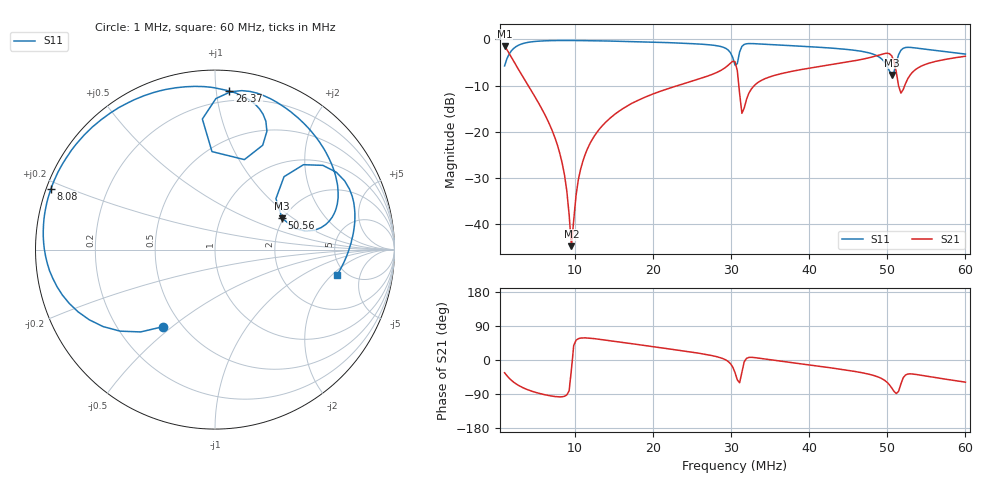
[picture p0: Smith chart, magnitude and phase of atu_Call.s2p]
! S11/S21 from S-A-A-2 VNA
! Written 2026-11-14 07:46:20 by the saav2 MCP server
! S12 and S22 were not measured (1.5-port VNA) and are written as 0
# HZ S RI R 50
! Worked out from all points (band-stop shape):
!   201 points, 1 MHz to 60 MHz, reference 50 ohm
!   highest |S21| = -1.44 dB at 1 MHz (marker M1); lowest = -44.9 dB at 9.555 MHz (marker M2)
!   |S21| within 3 dB of the highest: 46.39 MHz to 50.78 MHz (4.393 MHz wide, 9.04 % of centre); 57.08 MHz to end of sweep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
!   lowest |S11| = -7.7 dB at 50.56 MHz (marker M3), VSWR 2.41, Z = 98.1 + j41.5 ohm
!   |S11| at or under -10 dB: nowhere
!   S12 and S22 are empty: the file has one direction only
!   S11 on the Smith chart (normalised r, x): 1 MHz: 0.40, -0.47; 8.08 MHz: 0.01, +0.18; 26.37 MHz: 0.13, +1.09; 50.56 MHz: 1.96, +0.83; 60 MHz: 4.24, -2.30
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1000000  -0.2879 -0.4291  0.7054 -0.4701  0 0  0 0
3360000  -0.8803 -0.2065  0.1126 -0.3743  0 0  0 0
8080000  -0.9145 0.3378  -0.00733 -0.057  0 0  0 0
8965000  -0.8852 0.4096  -0.000901 -0.0226  0 0  0 0
9555000  -0.8625 0.4539  0.00517 -0.00244  0 0  0 0
1.0145e7  -0.8388 0.495  0.0124 0.0159  0 0  0 0
1.103e7  -0.8005 0.5527  0.0252 0.0409  0 0  0 0
1.4275e7  -0.6347 0.7233  0.0834 0.1055  0 0  0 0
2.0765e7  -0.2541 0.8958  0.227 0.1475  0 0  0 0
2.637e7  0.0807 0.8831  0.3698 0.1071  0 0  0 0
2.932e7  0.2676 0.7544  0.5001 0.00173  0 0  0 0
3.05e7  0.1637 0.5014  0.4819 -0.3123  0 0  0 0
3.1385e7  0.00518 0.8416  0.133 -0.0854  0 0  0 0
3.345e7  0.3093 0.8407  0.3404 0.0313  0 0  0 0
4.053e7  0.5979 0.5759  0.4803 -0.1246  0 0  0 0
4.761e7  0.6769 0.2362  0.5027 -0.3826  0 0  0 0
5.0265e7  0.4412 0.1192  0.2934 -0.6375  0 0  0 0
5.056e7  0.3739 0.1754  0.1886 -0.6383  0 0  0 0
5.115e7  0.3845 0.4061  0.0114 -0.4436  0 0  0 0
5.2035e7  0.6758 0.4312  0.1953 -0.2086  0 0  0 0
5.4395e7  0.7786 0.1537  0.3925 -0.3351  0 0  0 0
6e7  0.68 -0.1406  0.3441 -0.5602  0 0  0 0
